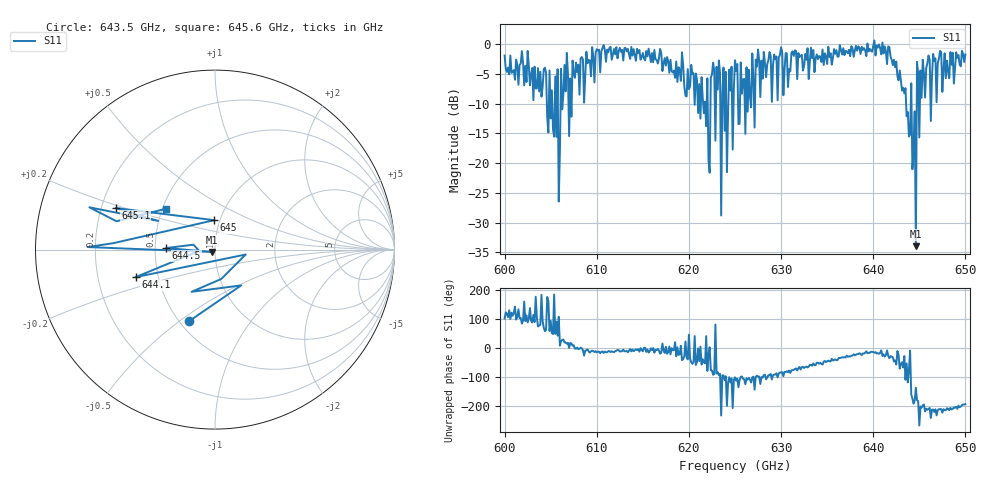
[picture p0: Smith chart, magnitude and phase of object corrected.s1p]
!Created with skrf (http://scikit-rf.org).
# GHz S MA R 50.0
!freq magS11 angS11
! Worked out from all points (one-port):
!   401 points, 600 GHz to 650 GHz, reference 50 ohm
!   lowest |S11| = -34.0 dB at 644.6 GHz (marker M1), VSWR 1.04, Z = 48.5 - j1.31 ohm
!   |S11| at or under -10 dB: 604.5858 GHz to 604.8082 GHz (222.4 MHz wide, 0.0368 % of centre); 643.5685 GHz to 644.0755 GHz (507 MHz wide, 0.0788 % of centre); 644.1545 GHz to 644.7217 GHz (567.2 MHz wide, 0.088 % of centre) (the widest 3 of 28)
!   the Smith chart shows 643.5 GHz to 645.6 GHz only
!   S11 on the Smith chart (normalised r, x): 643.5 GHz: 0.55, -0.54; 644.1 GHz: 0.37, -0.15; 644.5 GHz: 0.57, +0.01; 645 GHz: 0.94, +0.32; 645.1 GHz: 0.26, +0.19; 645.6 GHz: 0.52, +0.27
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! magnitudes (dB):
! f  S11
! 600 GHz  -1.9
! 604.2 GHz  -4.2
! 605.8 GHz  -4.2
! 606.1 GHz  -4.2
! 606.2 GHz  -11.0
! 606.6 GHz  -7.9
! 607.2 GHz  -12.2
! 607.6 GHz  -5.7
! 612.5 GHz  -0.6
! 618.8 GHz  -6.4
! 620.5 GHz  -4.9
! 622 GHz  -5.7
! 622.8 GHz  -4.5
! 623.6 GHz  -8.3
! 625 GHz  -2.7
! 631.2 GHz  -1.2
! 637.5 GHz  -2.0
! 641.5 GHz  -3.4
! 643.5 GHz  -7.4
! 643.8 GHz  -11.4
! 644.1 GHz  -6.6
! 644.5 GHz  -11.3
! 644.6 GHz  -34.0
! 644.9 GHz  -4.9
! 645 GHz  -15.7
! 645.1 GHz  -4.4
! 645.6 GHz  -9.0
! 650 GHz  -1.7
